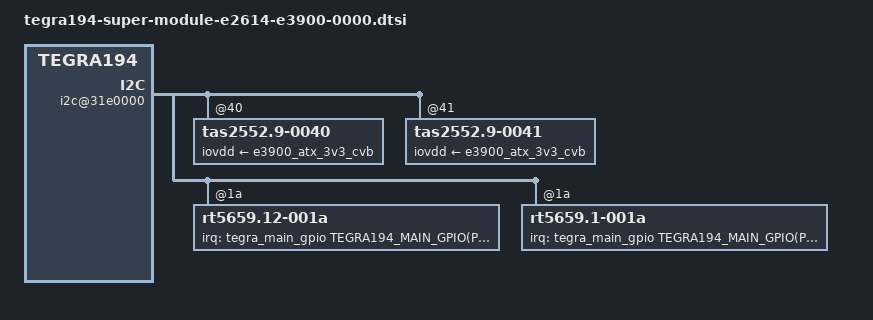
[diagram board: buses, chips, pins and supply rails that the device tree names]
/*
 * Copyright (c) 2020, NVIDIA CORPORATION.  All rights reserved.
 *
 * This program is free software; you can redistribute it and/or modify
 * it under the terms of the GNU General Public License as published by
 * the Free Software Foundation; version 2 of the License.
 *
 * This program is distributed in the hope that it will be useful, but WITHOUT
 * ANY WARRANTY; without even the implied warranty of MERCHANTABILITY or
 * FITNESS FOR A PARTICULAR PURPOSE.  See the GNU General Public License for
 * more details.
 */

#include <t19x-common-modules/tegra194-super-module-e2614.dtsi>

/ {
        i2c@31e0000 {
                i2cmux@70 {
                        vcc-supply = <&e3900_atx_3v3_cvb>;
                        i2c@0 {
                                tas2552.9-0040@40 {
                                        iovdd-supply = <&e3900_atx_3v3_cvb>;
                                };
                                tas2552.9-0041@41 {
                                        iovdd-supply = <&e3900_atx_3v3_cvb>;
                                };
                        };

                        i2c@3 {
                                rt5659.12-001a@1a {
					/* Codec IRQ output */
					interrupt-parent = <&tegra_main_gpio>;
					interrupts = <TEGRA194_MAIN_GPIO(P, 4) GPIO_ACTIVE_HIGH>;
                                };
                        };
                };

                rt5659.1-001a@1a {
			/* Codec IRQ output */
			interrupt-parent = <&tegra_main_gpio>;
			interrupts = <TEGRA194_MAIN_GPIO(P, 4) GPIO_ACTIVE_HIGH>;
                };
        };

        plugin-manager {
                fragment-e2614-common@0 {
                        overrides@10 {
				target = <&tegra_sound>;
				_overlay_ {
					nvidia-audio-card,widgets =
						"Headphone",	"CVB-RT Headphone Jack",
						"Microphone",	"CVB-RT Mic Jack",
						"Speaker",	"CVB-RT Int Spk",
						"Microphone",	"CVB-RT Int Mic",
						"Headphone",	"H40-RT Headphone",
						"Microphone",	"H40-RT Mic",
						"Headphone",	"H40-TAS-R Headphone",
						"Headphone",	"H40-TAS-L Headphone";

					nvidia-audio-card,routing =
						"CVB-RT Headphone Jack",     "CVB-RT HPO L Playback",
						"CVB-RT Headphone Jack",     "CVB-RT HPO R Playback",
						"CVB-RT IN1P",		     "CVB-RT Mic Jack",
						"CVB-RT IN2P",		     "CVB-RT Mic Jack",
						"CVB-RT Int Spk",	     "CVB-RT SPO Playback",
						"CVB-RT DMIC L1",	     "CVB-RT Int Mic",
						"CVB-RT DMIC L2",	     "CVB-RT Int Mic",
						"CVB-RT DMIC R1",	     "CVB-RT Int Mic",
						"CVB-RT DMIC R2",	     "CVB-RT Int Mic",
						"H40-RT Headphone",	     "H40-RT HPO L Playback",
						"H40-RT Headphone",	     "H40-RT HPO R Playback",
						"H40-RT IN1P",		     "H40-RT Mic",
						"H40-TAS-R Headphone",	     "H40-TAS-R OUT",
						"H40-TAS-L Headphone",	     "H40-TAS-L OUT";
				};
                        };
                };
        };
};

